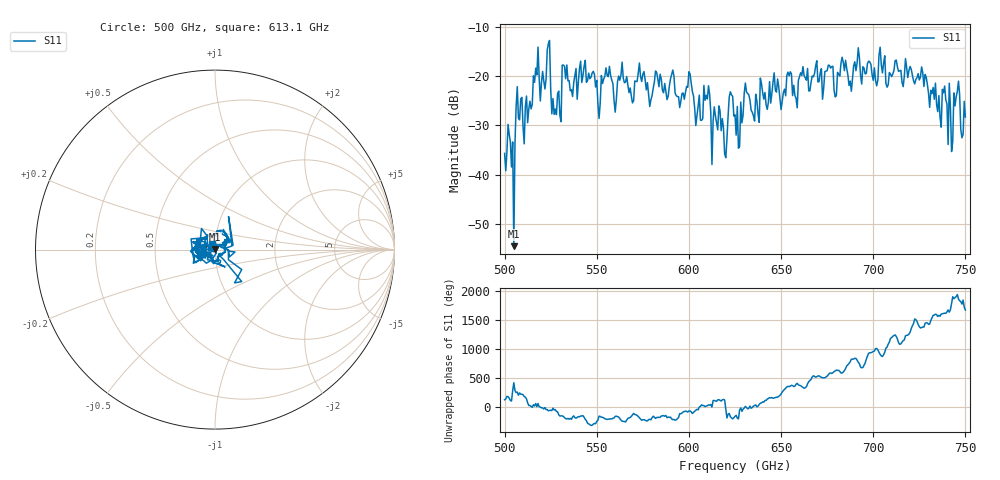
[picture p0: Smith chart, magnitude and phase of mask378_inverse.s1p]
!Created with skrf (http://scikit-rf.org).
# GHz S MA R 50.0
!freq magS11 angS11
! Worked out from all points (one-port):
!   401 points, 500 GHz to 750 GHz, reference 50 ohm
!   lowest |S11| = -54.6 dB at 505 GHz (marker M1), VSWR 1.00, Z = 50.1 + j0.17 ohm
!   |S11| at or under -10 dB: start of sweep to end of sweep
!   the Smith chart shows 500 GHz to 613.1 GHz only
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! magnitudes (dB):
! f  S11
! 500 GHz  -35.7
! 505 GHz  -54.6
! 507.5 GHz  -28.5
! 511.2 GHz  -26.2
! 516.9 GHz  -18.3
! 520.6 GHz  -19.0
! 523.8 GHz  -13.3
! 526.9 GHz  -27.8
! 531.2 GHz  -17.7
! 560 GHz  -27.3
! 562.5 GHz  -20.8
! 593.8 GHz  -24.1
! 609.4 GHz  -23.9
! 619.4 GHz  -35.8
! 622.5 GHz  -23.1
! 625 GHz  -27.8
! 656.2 GHz  -23.9
! 676.9 GHz  -18.3
! 680 GHz  -23.9
! 683.8 GHz  -17.1
! 687.5 GHz  -21.0
! 691.2 GHz  -17.3
! 718.8 GHz  -20.2
! 735.6 GHz  -23.9
! 738.8 GHz  -22.0
! 741.9 GHz  -26.2
! 745 GHz  -24.1
! 750 GHz  -28.3
